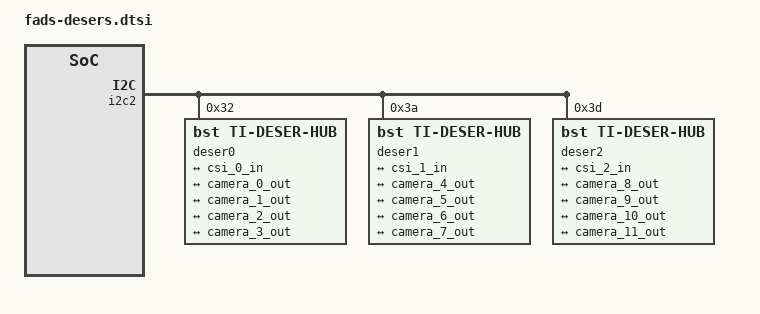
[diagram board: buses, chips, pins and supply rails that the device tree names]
/*
   default deser config for fadb
   deser0@i2c2 0x30:    ti960
   deser1@i2c2 0x3d:    ti960
   deser2@i2c2 0x3c:    ti960
*/

&i2c2 {
    #address-cells = <1>;
    #size-cells = <0>;

    deser0: ti960@32 {
        #address-cells = <1>;
        #size-cells = <0>;
        compatible = "bst,ti-deser-hub";
        type = "ti960";
        reg = <0x32>;
        i2c-port = <0>;
        csi2-port = <1>;
        lane-speed = <1600>;
        csi-link {
            ports {
                port@0 {
                    clock-lanes = <0>;
                    data-lanes = <1 2 3 4>;
                    deser_0_out: endpoint{
                        remote-endpoint = <&csi_0_in>;
                    };
                };
            };
        };

        ports {
            #address-cells = <1>;
            #size-cells = <0>;
            port@0 {
                reg = <0>;
                deser_0_in_0: endpoint@0{
                    remote-endpoint = <&camera_0_out>;
                };
            };
            port@1 {
                reg = <1>;
                deser_0_in_1: endpoint@1{
                    remote-endpoint = <&camera_1_out>;
                };
            };
            port@2 {
                reg = <2>;
                deser_0_in_2: endpoint@2{
                    remote-endpoint = <&camera_2_out>;
                };
            };
            port@3 {
                reg = <3>;
                deser_0_in_3: endpoint@3{
                    remote-endpoint = <&camera_3_out>;
                };
            };
        };
    };

    deser1: ti960@3a {
        #address-cells = <1>;
        #size-cells = <0>;
        compatible = "bst,ti-deser-hub";
        type = "ti960";
        reg = <0x3a>;
        i2c-port = <0>;
        csi2-port = <1>;
        lane-speed = <1600>;
        csi-link {
            ports {
                port@0 {
                    clock-lanes = <0>;
                    data-lanes = <1 2 3 4>;
                    deser_1_out: endpoint{
                        remote-endpoint = <&csi_1_in>;
                    };
                };
            };
        };

        ports {
            #address-cells = <1>;
            #size-cells = <0>;
            port@0 {
                reg = <0>;
                deser_1_in_0: endpoint@0{
                    remote-endpoint = <&camera_4_out>;
                };
            };
            port@1 {
                reg = <1>;
                deser_1_in_1: endpoint@1{
                    remote-endpoint = <&camera_5_out>;
                };
            };
            port@2 {
                reg = <2>;
                deser_1_in_2: endpoint@2{
                    remote-endpoint = <&camera_6_out>;
                };
            };
            port@3 {
                reg = <3>;
                deser_1_in_3: endpoint@3{
                    remote-endpoint = <&camera_7_out>;
                };
            };
        };
    };

    deser2: ti960@3d {
        #address-cells = <1>;
        #size-cells = <0>;
        compatible = "bst,ti-deser-hub";
        type = "ti960";
        reg = <0x3d>;
        i2c-port = <0>;
        csi2-port = <1>;
        lane-speed = <1600>;
        csi-link {
            ports {
                port@0 {
                    clock-lanes = <0>;
                    data-lanes = <1 2 3 4>;
                    deser_2_out: endpoint{
                        remote-endpoint = <&csi_2_in>;
                    };
                };
            };
        };

        ports {
            #address-cells = <1>;
            #size-cells = <0>;
            port@0 {
                reg = <0>;
                deser_2_in_0: endpoint@0{
                    remote-endpoint = <&camera_8_out>;
                };
            };
            port@1 {
                reg = <1>;
                deser_2_in_1: endpoint@1{
                    remote-endpoint = <&camera_9_out>;
                };
            };
            port@2 {
                reg = <2>;
                deser_2_in_2: endpoint@2{
                    remote-endpoint = <&camera_10_out>;
                };
            };
            port@3 {
                reg = <3>;
                deser_2_in_3: endpoint@3{
                    remote-endpoint = <&camera_11_out>;
                };
            };
        };
    };
};
